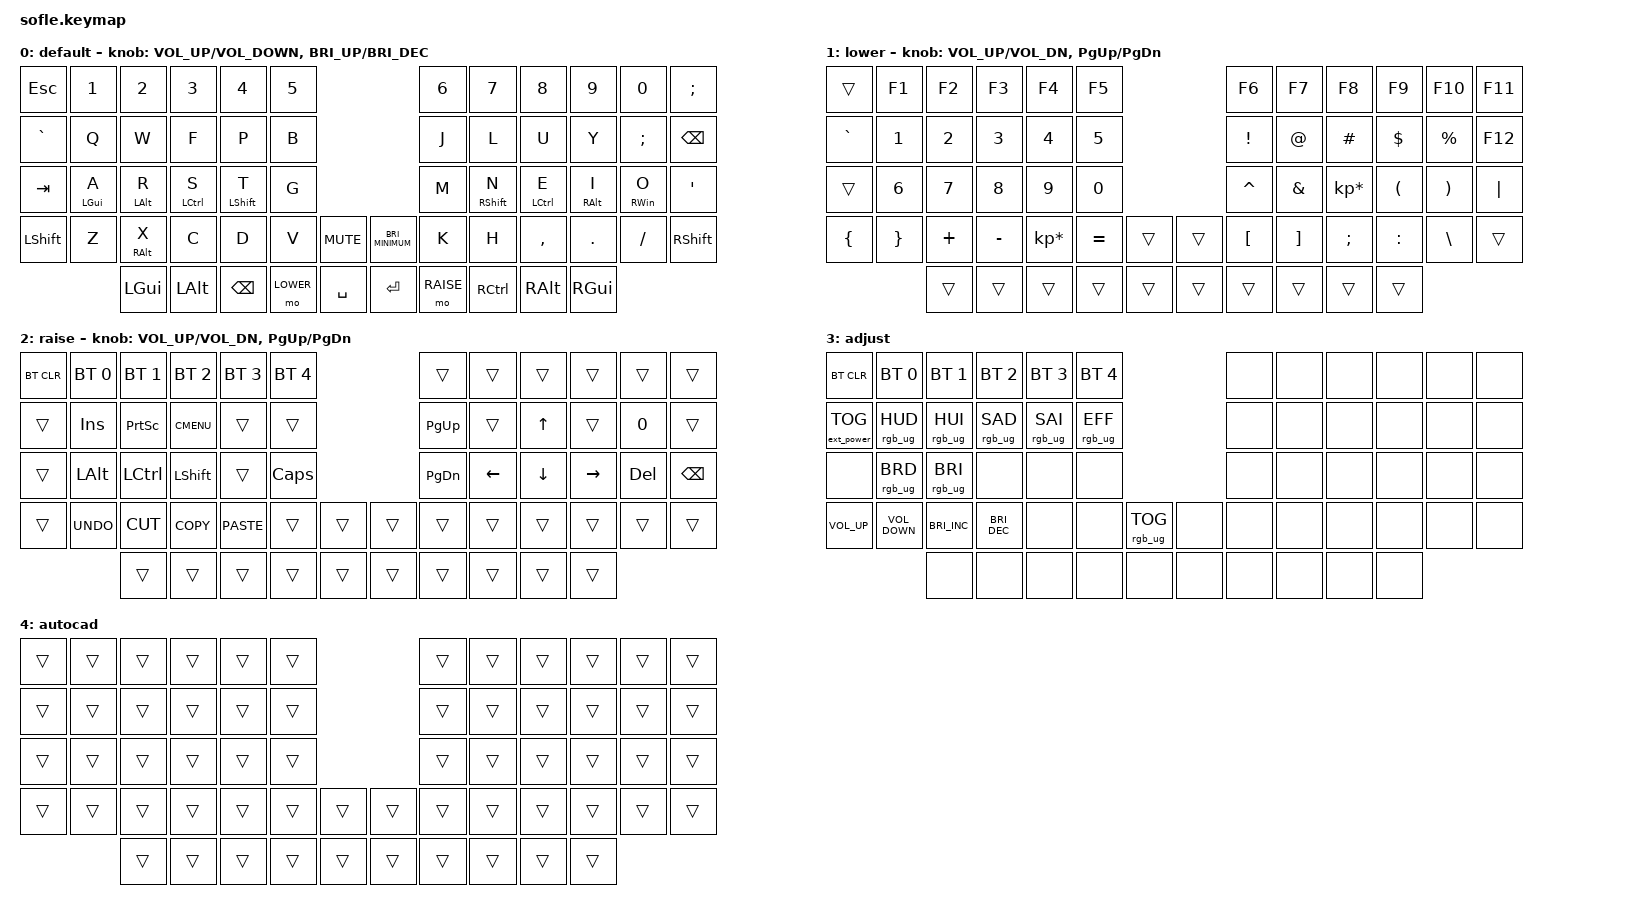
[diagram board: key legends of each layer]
/*
 * Copyright (c) 2020 The ZMK Contributors
 *
 * SPDX-License-Identifier: MIT
 */

#include <behaviors.dtsi>
#include <dt-bindings/zmk/bt.h>
#include <dt-bindings/zmk/ext_power.h>
#include <dt-bindings/zmk/keys.h>
#include <dt-bindings/zmk/outputs.h>
#include <dt-bindings/zmk/rgb.h>

#define BASE 0
#define LOWER 1
#define RAISE 2
#define ADJUST 3

/ {
    // Activate ADJUST layer by pressing raise and lower

    conditional_layers {
        compatible = "zmk,conditional-layers";

        adjust_layer {
            if-layers = <LOWER RAISE>;
            then-layer = <ADJUST>;
        };
    };

    combos {
        compatible = "zmk,combos";

        undo {
            bindings = <&kp K_UNDO>;
            key-positions = <37 38>;
            layers = <0>;
            timeout-ms = <0>;
        };

        caps {
            bindings = <&kp CAPS>;
            key-positions = <28 31>;
        };
    };

    keymap {
        compatible = "zmk,keymap";

        default_layer {
            label = "default";

            // ------------------------------------------------------------------------------------------------------------
            // |   `   |  1  |  2  |  3   |  4   |  5   |                   |  6   |  7    |  8    |  9   |   0   |       |
            // |  ESC  |  Q  |  W  |  E   |  R   |  T   |                   |  Y   |  U    |  I    |  O   |   P   | BKSPC |
            // |  TAB  |  A  |  S  |  D   |  F   |  G   |                   |  H   |  J    |  K    |  L   |   ;   |   '   |
            // | SHIFT |  Z  |  X  |  C   |  V   |  B   |  MUTE  |  |       |  N   |  M    |  ,    |  .   |   /   | SHIFT |
            //               | GUI | ALT  | CTRL | LOWER|  ENTER |  | SPACE | RAISE| CTRL  | ALT   | GUI  |

            bindings = <
&kp ESCAPE  &kp N1        &kp N2            &kp N3         &kp N4         &kp N5                                             &kp N6     &kp N7         &kp N8         &kp N9             &kp N0         &kp SEMICOLON
&kp GRAVE   &kp Q         &kp W             &kp F          &kp P          &kp B                                              &kp J      &kp L          &kp U          &kp Y              &kp SEMICOLON  &kp BSPC
&kp TAB     &u_mt LGUI A  &u_mt LEFT_ALT R  &u_mt LCTRL S  &u_mt LSHFT T  &kp G                                              &kp M      &u_mt RSHFT N  &u_mt LCTRL E  &u_mt RIGHT_ALT I  &u_mt RWIN O   &kp SQT
&kp LSHFT   &kp Z         &u_mt RALT X      &kp C          &kp D          &kp V      &kp C_MUTE    &kp C_BRIGHTNESS_MINIMUM  &kp K      &kp H          &kp COMMA      &kp DOT            &kp FSLH       &kp RSHFT
                          &kp LGUI          &kp LALT       &kp BACKSPACE  &mo LOWER  &kp SPACE     &kp ENTER                 &mo RAISE  &kp RCTRL      &kp RALT       &kp RGUI
            >;

            sensor-bindings =
                <&inc_dec_kp C_VOLUME_UP C_VOLUME_DOWN>,
                <&inc_dec_kp C_BRI_UP C_BRIGHTNESS_DEC>;
        };

        lower_layer {
            label = "lower";

            // TODO: Some binds are waiting for shifted keycode support.
            // ------------------------------------------------------------------------------------------------------------
            // |       |  F1 |  F2 |  F3  |  F4  |  F5  |                   |  F6  |  F7   |  F8   |  F9  |  F10  |  F11  |
            // |   `   |  1  |  2  |  3   |  4   |  5   |                   |  6   |  7    |  8    |  9   |   0   |  F12  |
            // |       |  !  |  @  |  #   |  $   |  %   |                   |  ^   |  &    |  *    |  (   |   )   |   |   |
            // |       |  =  |  -  |  +   |  {   |  }   |        |  |       |  [   |  ]    |  ;    |  :   |   \   |       |
            //               |     |      |      |      |        |  |       |      |       |       |      |

            bindings = <
&trans          &kp F1           &kp F2    &kp F3     &kp F4           &kp F5                       &kp F6     &kp F7    &kp F8           &kp F9      &kp F10      &kp F11
&kp GRAVE       &kp N1           &kp N2    &kp N3     &kp N4           &kp N5                       &kp EXCL   &kp AT    &kp HASH         &kp DOLLAR  &kp PERCENT  &kp F12
&trans          &kp NUMBER_6     &kp N7    &kp N8     &kp N9           &kp N0                       &kp CARET  &kp AMPS  &kp KP_MULTIPLY  &kp LPAR    &kp RPAR     &kp PIPE
&kp LEFT_BRACE  &kp RIGHT_BRACE  &kp PLUS  &kp MINUS  &kp KP_ASTERISK  &kp EQUAL  &trans    &trans  &kp LBKT   &kp RBKT  &kp SEMI         &kp COLON   &kp BSLH     &trans
                                 &trans    &trans     &trans           &trans     &trans    &trans  &trans     &trans    &trans           &trans
            >;

            sensor-bindings = <&inc_dec_kp C_VOL_UP C_VOL_DN &inc_dec_kp PG_UP PG_DN>;
        };

        raise_layer {
            label = "raise";

            // ------------------------------------------------------------------------------------------------------------
            // | BTCLR | BT1  | BT2  |  BT3  |  BT4  |  BT5 |                |      |      |       |      |       |       |
            // |       | INS  | PSCR | GUI   |       |      |                | PGUP |      |   ^   |      |       |       |
            // |       | ALT  | CTRL | SHIFT |       | CAPS |                | PGDN |   <- |   v   |  ->  |  DEL  | BKSPC |
            // |       | UNDO | CUT  | COPY  | PASTE |      |      |  |      |      |      |       |      |       |       |
            //                |      |       |       |      |      |  |      |      |      |       |      |

            bindings = <
&bt BT_CLR  &bt BT_SEL 0  &bt BT_SEL 1  &bt BT_SEL 2  &bt BT_SEL 3  &bt BT_SEL 4                    &trans     &trans    &trans    &trans     &trans   &trans
&trans      &kp INS       &kp PSCRN     &kp K_CMENU   &trans        &trans                          &kp PG_UP  &trans    &kp UP    &trans     &kp N0   &trans
&trans      &kp LALT      &kp LCTRL     &kp LSHFT     &trans        &kp CLCK                        &kp PG_DN  &kp LEFT  &kp DOWN  &kp RIGHT  &kp DEL  &kp BSPC
&trans      &kp K_UNDO    &kp K_CUT     &kp K_COPY    &kp K_PASTE   &trans        &trans    &trans  &trans     &trans    &trans    &trans     &trans   &trans
                          &trans        &trans        &trans        &trans        &trans    &trans  &trans     &trans    &trans    &trans
            >;

            sensor-bindings = <&inc_dec_kp C_VOL_UP C_VOL_DN &inc_dec_kp PG_UP PG_DN>;
        };

        adjust_layer {
            // ----------------------------------------------------------------------------------------------------------------------------
            // | BTCLR  |  BT1    |  BT2    |   BT3   |   BT4   |   BT5   |                  |      |      |       |      |       |       |
            // | EXTPWR | RGB_HUD | RGB_HUI | RGB_SAD | RGB_SAI | RGB_EFF |                  |      |      |       |      |       |       |
            // |        | RGB_BRD | RGB_BRI |         |         |         |                  |      |      |       |      |       |       |
            // |        |         |         |         |         |         | RGB_TOG | |      |      |      |       |      |       |       |
            //                    |         |         |         |         |         | |      |      |      |       |      |

            label = "adjust";
            bindings = <
&bt BT_CLR         &bt BT_SEL 0       &bt BT_SEL 1          &bt BT_SEL 2     &bt BT_SEL 3     &bt BT_SEL 4                               &none  &none  &none  &none  &none  &none
&ext_power EP_TOG  &rgb_ug RGB_HUD    &rgb_ug RGB_HUI       &rgb_ug RGB_SAD  &rgb_ug RGB_SAI  &rgb_ug RGB_EFF                            &none  &none  &none  &none  &none  &none
&none              &rgb_ug RGB_BRD    &rgb_ug RGB_BRI       &none            &none            &none                                      &none  &none  &none  &none  &none  &none
&kp C_VOLUME_UP    &kp C_VOLUME_DOWN  &kp C_BRIGHTNESS_INC  &kp C_BRI_DEC    &none            &none            &rgb_ug RGB_TOG    &none  &none  &none  &none  &none  &none  &none
                                      &none                 &none            &none            &none            &none              &none  &none  &none  &none  &none
            >;
        };

        autocad {
            bindings = <
&trans  &trans  &trans  &trans  &trans  &trans                    &trans  &trans  &trans  &trans  &trans  &trans
&trans  &trans  &trans  &trans  &trans  &trans                    &trans  &trans  &trans  &trans  &trans  &trans
&trans  &trans  &trans  &trans  &trans  &trans                    &trans  &trans  &trans  &trans  &trans  &trans
&trans  &trans  &trans  &trans  &trans  &trans  &trans    &trans  &trans  &trans  &trans  &trans  &trans  &trans
                &trans  &trans  &trans  &trans  &trans    &trans  &trans  &trans  &trans  &trans
            >;
        };
    };
};

/ {
    macros {
        u_macro_u_bt_sel_0: u_macro_u_bt_sel_0 {
            label = "ZM_u_macro_u_bt_sel_0";
            compatible = "zmk,behavior-macro";
            #binding-cells = <0>;
            wait-ms = <0>;
            bindings = <&bt BT_SEL 0 &bt BT_CLR>;
        };
    };
};

/ {
    behaviors {
        u_bt_sel_0: u_bt_sel_0 {
            compatible = "zmk,behavior-mod-morph";
            label = "u_bt_sel_0";
            #binding-cells = <0>;
            bindings = <&bt BT_SEL 0>, <&u_macro_u_bt_sel_0>;

            mods = <(MOD_LSFT|MOD_RSFT)>;
        };
    };
};

/ {
    macros {
        u_macro_u_bt_sel_1: u_macro_u_bt_sel_1 {
            label = "ZM_u_macro_u_bt_sel_1";
            compatible = "zmk,behavior-macro";
            #binding-cells = <0>;
            wait-ms = <0>;
            bindings = <&bt BT_SEL 1 &bt BT_CLR>;
        };
    };
};

/ {
    behaviors {
        u_bt_sel_1: u_bt_sel_1 {
            compatible = "zmk,behavior-mod-morph";
            label = "u_bt_sel_1";
            #binding-cells = <0>;
            bindings = <&bt BT_SEL 1>, <&u_macro_u_bt_sel_1>;

            mods = <(MOD_LSFT|MOD_RSFT)>;
        };
    };
};

/ {
    macros {
        u_macro_u_bt_sel_2: u_macro_u_bt_sel_2 {
            label = "ZM_u_macro_u_bt_sel_2";
            compatible = "zmk,behavior-macro";
            #binding-cells = <0>;
            wait-ms = <0>;
            bindings = <&bt BT_SEL 2 &bt BT_CLR>;
        };
    };
};

/ {
    behaviors {
        u_bt_sel_2: u_bt_sel_2 {
            compatible = "zmk,behavior-mod-morph";
            label = "u_bt_sel_2";
            #binding-cells = <0>;
            bindings = <&bt BT_SEL 2>, <&u_macro_u_bt_sel_2>;

            mods = <(MOD_LSFT|MOD_RSFT)>;
        };
    };
};

/ {
    macros {
        u_macro_u_bt_sel_3: u_macro_u_bt_sel_3 {
            label = "ZM_u_macro_u_bt_sel_3";
            compatible = "zmk,behavior-macro";
            #binding-cells = <0>;
            wait-ms = <0>;
            bindings = <&bt BT_SEL 3 &bt BT_CLR>;
        };
    };
};

/ {
    behaviors {
        u_bt_sel_3: u_bt_sel_3 {
            compatible = "zmk,behavior-mod-morph";
            label = "u_bt_sel_3";
            #binding-cells = <0>;
            bindings = <&bt BT_SEL 3>, <&u_macro_u_bt_sel_3>;

            mods = <(MOD_LSFT|MOD_RSFT)>;
        };
    };
};

/ {
    macros {
        u_macro_u_bt_sel_4: u_macro_u_bt_sel_4 {
            label = "ZM_u_macro_u_bt_sel_4";
            compatible = "zmk,behavior-macro";
            #binding-cells = <0>;
            wait-ms = <0>;
            bindings = <&bt BT_SEL 4 &bt BT_CLR>;
        };
    };
};

/ {
    behaviors {
        u_bt_sel_4: u_bt_sel_4 {
            compatible = "zmk,behavior-mod-morph";
            label = "u_bt_sel_4";
            #binding-cells = <0>;
            bindings = <&bt BT_SEL 4>, <&u_macro_u_bt_sel_4>;

            mods = <(MOD_LSFT|MOD_RSFT)>;
        };
    };
};

/ {
    behaviors {
        u_out_tog: u_out_tog {
            compatible = "zmk,behavior-mod-morph";
            label = "u_out_tog";
            #binding-cells = <0>;
            bindings = <&out OUT_TOG>, <&out OUT_USB>;

            mods = <(MOD_LSFT|MOD_RSFT)>;
        };
    };
};

/ {
    behaviors {
        u_caps_word: u_caps_word {
            compatible = "zmk,behavior-mod-morph";
            label = "u_caps_word";
            #binding-cells = <0>;
            bindings = <&caps_word>, <&kp CAPS>;

            mods = <(MOD_LSFT|MOD_RSFT)>;
        };
    };
};

/ {
    behaviors {
        u_to_U_BASE: u_to_U_BASE {
            compatible = "zmk,behavior-tap-dance";
            label = "u_to_U_BASE";
            #binding-cells = <0>;
            tapping-term-ms = <200>;
            bindings = <&none>, <&to 0>;
        };
    };
};

/ {
    behaviors {
        u_to_U_EXTRA: u_to_U_EXTRA {
            compatible = "zmk,behavior-tap-dance";
            label = "u_to_U_EXTRA";
            #binding-cells = <0>;
            tapping-term-ms = <200>;
            bindings = <&none>, <&to 1>;
        };
    };
};

/ {
    behaviors {
        u_to_U_TAP: u_to_U_TAP {
            compatible = "zmk,behavior-tap-dance";
            label = "u_to_U_TAP";
            #binding-cells = <0>;
            tapping-term-ms = <200>;
            bindings = <&none>, <&to 2>;
        };
    };
};

/ {
    behaviors {
        u_to_U_BUTTON: u_to_U_BUTTON {
            compatible = "zmk,behavior-tap-dance";
            label = "u_to_U_BUTTON";
            #binding-cells = <0>;
            tapping-term-ms = <200>;
            bindings = <&none>, <&to 3>;
        };
    };
};

/ {
    behaviors {
        u_to_U_NAV: u_to_U_NAV {
            compatible = "zmk,behavior-tap-dance";
            label = "u_to_U_NAV";
            #binding-cells = <0>;
            tapping-term-ms = <200>;
            bindings = <&none>, <&to 4>;
        };
    };
};

/ {
    behaviors {
        u_to_U_MOUSE: u_to_U_MOUSE {
            compatible = "zmk,behavior-tap-dance";
            label = "u_to_U_MOUSE";
            #binding-cells = <0>;
            tapping-term-ms = <200>;
            bindings = <&none>, <&to 5>;
        };
    };
};

/ {
    behaviors {
        u_to_U_MEDIA: u_to_U_MEDIA {
            compatible = "zmk,behavior-tap-dance";
            label = "u_to_U_MEDIA";
            #binding-cells = <0>;
            tapping-term-ms = <200>;
            bindings = <&none>, <&to 6>;
        };
    };
};

/ {
    behaviors {
        u_to_U_NUM: u_to_U_NUM {
            compatible = "zmk,behavior-tap-dance";
            label = "u_to_U_NUM";
            #binding-cells = <0>;
            tapping-term-ms = <200>;
            bindings = <&none>, <&to 7>;
        };
    };
};

/ {
    behaviors {
        u_to_U_SYM: u_to_U_SYM {
            compatible = "zmk,behavior-tap-dance";
            label = "u_to_U_SYM";
            #binding-cells = <0>;
            tapping-term-ms = <200>;
            bindings = <&none>, <&to 8>;
        };
    };
};

/ {
    behaviors {
        u_to_U_FUN: u_to_U_FUN {
            compatible = "zmk,behavior-tap-dance";
            label = "u_to_U_FUN";
            #binding-cells = <0>;
            tapping-term-ms = <200>;
            bindings = <&none>, <&to 9>;
        };
    };
};

/ {
    macros {
        u_macro_btn1: u_macro_btn1 {
            label = "ZM_u_macro_btn1";
            compatible = "zmk,behavior-macro";
            #binding-cells = <0>;
            wait-ms = <0>;
            bindings = <&kp KP_SLASH &kp KP_N5>;
        };
    };
};

/ {
    macros {
        u_macro_btn2: u_macro_btn2 {
            label = "ZM_u_macro_btn2";
            compatible = "zmk,behavior-macro";
            #binding-cells = <0>;
            wait-ms = <0>;
            bindings = <&kp KP_MINUS &kp KP_N5>;
        };
    };
};

/ {
    macros {
        u_macro_btn3: u_macro_btn3 {
            label = "ZM_u_macro_btn3";
            compatible = "zmk,behavior-macro";
            #binding-cells = <0>;
            wait-ms = <0>;
            bindings = <&kp KP_ASTERISK &kp KP_N5>;
        };
    };
};

/ {
    behaviors {
        u_mt: u_mt {
            compatible = "zmk,behavior-hold-tap";
            label = "u_mt";
            #binding-cells = <2>;
            tapping_term_ms = <200>;
            flavor = "tap-preferred";
            bindings = <&kp>, <&kp>;
        };

        u_lt: u_lt {
            compatible = "zmk,behavior-hold-tap";
            label = "u_lt";
            #binding-cells = <2>;
            tapping_term_ms = <200>;
            flavor = "tap-preferred";
            bindings = <&mo>, <&kp>;
        };
    };
};
